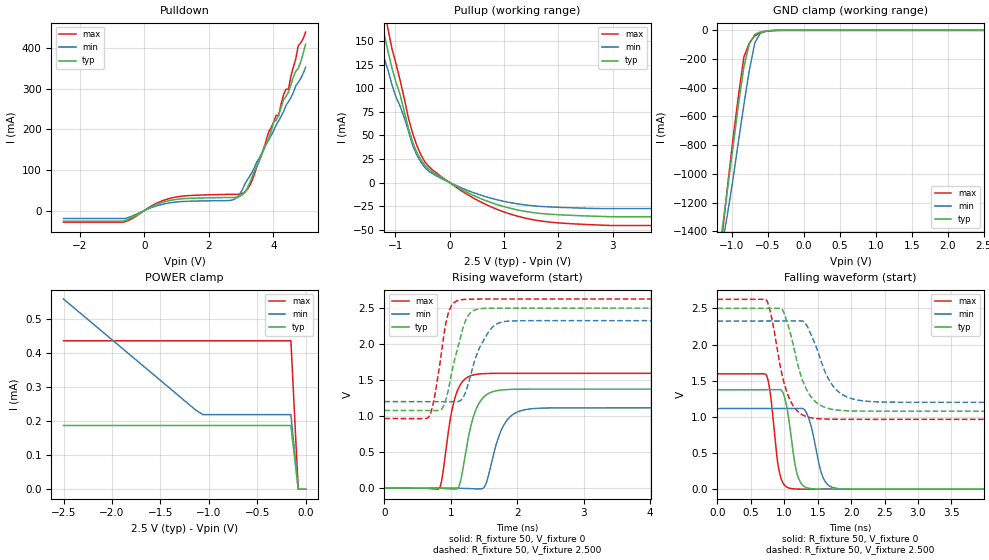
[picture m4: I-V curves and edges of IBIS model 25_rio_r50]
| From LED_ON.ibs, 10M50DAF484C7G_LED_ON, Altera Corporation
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|MODEL 25_rio_r50
[Model]   25_rio_r50
Model_type   I/O
Polarity   Non-Inverting
Enable Active-Low
Vinl   = 0.700
Vinh   = 1.700
Vmeas  = 1.250
Rref   = 10M
Cref   = 0pF
Vref   = 0.000
C_comp 4.5pF   4.5pF   4.5pF
[Model Spec]
Vinh   1.700   1.700   1.700
Vinl   0.700   0.700   0.700
[Temperature Range]   25   85   0
[Voltage Range]   2.500   2.325   2.625
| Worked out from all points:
|   slope of the pulldown table from 0 to 0.375 V, typ, clamps not added: 25.2 ohm
|   slope of the pullup table from 0 to 0.375 V, typ, clamps not added: 31.4 ohm
|   GND clamp passes 1 mA (typ) near -0.44 V on its own axis
|   rising waveform, R_fixture 50, V_fixture 0: 20-80 % time 199ps typ, 228ps min, 173ps max; typ from 0 V to 1.37 V
|   falling waveform, R_fixture 50, V_fixture 0: 20-80 % time 131ps typ, 160ps min, 112ps max; typ from 1.37 V to 0 V
|   rising waveform, R_fixture 50, V_fixture 2.500: 20-80 % time 219ps typ, 268ps min, 165ps max; typ from 1.08 V to 2.5 V
|   falling waveform, R_fixture 50, V_fixture 2.500: 20-80 % time 268ps typ, 312ps min, 229ps max; typ from 2.5 V to 1.08 V
[GND Clamp]
| voltage   I (typ)   I (min)   I (max)
-2.5V     -5.9A      -5.373A    -6.888A
-1.136V   -1.391A    -1.505A    -1.44A
-1.061V   -1.107A    -1.279A    -1.088A
-984.9mV  -815mA     -1.038A    -757.7mA
-909.1mV  -518.6mA   -774.5mA   -457.2mA
-833.3mV  -255mA     -518.7mA   -186.5mA
-757.6mV  -94.81mA   -278.2mA   -87.08mA
-681.8mV  -28.16mA   -88.01mA   -39.35mA
-606.1mV  -11.9mA    -20.93mA   -18.07mA
-530.3mV  -4.732mA   -6.889mA   -7.205mA
-454.6mV  -1.272mA   -1.883mA   -2.74mA
2.5V      0A         0A         0A
[Pulldown]
| voltage   I (typ)   I (min)   I (max)
-2.5V     -26.09mA   -19.42mA   -28.48mA
-606.1mV  -24.68mA   -19.42mA   -27.68mA
833.3mV   25.48mA    19.58mA    30.82mA
2.727V    32.32mA    26.05mA    39.97mA
3.106V    43.99mA    62.78mA    45.13mA
3.333V    81.23mA    93.09mA    72.31mA
3.864V    178.2mA    174.8mA    195.2mA
4.167V    234.9mA    221.1mA    234.5mA
4.318V    273.2mA    243.9mA    285.6mA
4.47V     292mA      268.1mA    298.8mA
4.773V    350.2mA    315.3mA    405.3mA
5V        409.7mA    352.9mA    439.3mA
[Power Clamp]
| voltage   I (typ)   I (min)   I (max)
-2.5V     186.7uA    557.6uA    435.2uA
-1.136V   186.7uA    232.4uA    435.2uA
-1.061V   186.7uA    218.6uA    435.2uA
-151.5mV  186.7uA    218.6uA    435.2uA
-75.76mV  0A         0A         0A
0V        0A         0A         0A
[Pullup]
| voltage   I (typ)   I (min)   I (max)
-2.5V     446.5mA    356mA      511.4mA
-1.439V   205.9mA    172.6mA    236.5mA
-1.212V   159.5mA    133.5mA    188.4mA
-1.136V   139.7mA    119.6mA    163.4mA
-757.6mV  57.5mA     54.44mA    68.13mA
-681.8mV  43.14mA    39.45mA    52.43mA
-530.3mV  24.18mA    21.73mA    29.42mA
-303mV    10.93mA    9.031mA    12.82mA
151.5mV   -5.18mA    -4.063mA   -6.237mA
909.1mV   -24.06mA   -18.81mA   -29.3mA
1.667V    -32.77mA   -25.3mA    -40.74mA
5V        -36.29mA   -27.68mA   -45.66mA
[Ramp]
dV/dt_r   8.247e-01/1.987e-10 6.688e-01/2.280e-10 9.565e-01/1.726e-10
dV/dt_f   8.530e-01/2.683e-10 6.743e-01/3.121e-10 9.953e-01/2.285e-10
R_load = 50ohms
[Rising Waveform]
R_fixture   = 50
V_fixture   = 0
V_fixture_min = 0
V_fixture_max = 0
| time   V (typ)   V (min)   V (max)
0s        48.43nV    749.6nV    73.35nV
825ps     -1.106mV   17.82uV    -3.602mV
873.6ps   -4.294mV   33.16uV    170.1mV
1.005ns   -11.24mV   84.51uV    1.031V
1.116ns   14.76mV    -1.166mV   1.391V
1.338ns   989.6mV    -9.984mV   1.571V
1.518ns   1.284V     39.7mV     1.59V
1.823ns   1.367V     915.9mV    1.594V
2.108ns   1.374V     1.088V     1.594V
6.926ns   1.375V     1.115V     1.594V
[Falling Waveform]
R_fixture   = 50
V_fixture   = 0
V_fixture_min = 0
V_fixture_max = 0
| time   V (typ)   V (min)   V (max)
0s        1.375V     1.115V     1.594V
730.7ps   1.375V     1.115V     1.578V
923.8ps   1.377V     1.115V     246.9mV
1.082ns   869.1mV    1.115V     12.17mV
1.172ns   289.1mV    1.115V     2.282mV
1.255ns   75.86mV    1.118V     494.5uV
1.379ns   9.795mV    942.1mV    54.55uV
1.579ns   387.3uV    163.3mV    1.776uV
1.758ns   23.95uV    14.18mV    465.2nV
6.887ns   689.9nV    1.461uV    676.4nV
[Rising Waveform]
R_fixture   = 50
V_fixture   = 2.500
V_fixture_min   = 2.325
V_fixture_max   = 2.625
| time   V (typ)   V (min)   V (max)
0s        1.078V     1.201V     966mV
672.5ps   1.077V     1.201V     996.3mV
755.7ps   1.076V     1.201V     1.277V
866.6ps   1.103V     1.201V     1.941V
942.9ps   1.292V     1.2V       2.368V
1.116ns   1.992V     1.204V     2.608V
1.31ns    2.446V     1.615V     2.624V
1.553ns   2.498V     2.147V     2.625V
1.782ns   2.5V       2.309V     2.625V
6.926ns   2.5V       2.325V     2.625V
[Falling Waveform]
R_fixture   = 50
V_fixture   = 2.500
V_fixture_min   = 2.325
V_fixture_max   = 2.625
| time   V (typ)   V (min)   V (max)
0s        2.5V       2.325V     2.625V
730.7ps   2.5V       2.325V     2.618V
813.5ps   2.5V       2.325V     2.357V
958.2ps   2.495V     2.325V     1.614V
1.041ns   2.315V     2.325V     1.335V
1.234ns   1.612V     2.326V     1.05V
1.358ns   1.335V     2.223V     996.1mV
1.703ns   1.107V     1.46V      967.7mV
2.075ns   1.081V     1.236V     966.1mV
6.887ns   1.078V     1.201V     966mV
